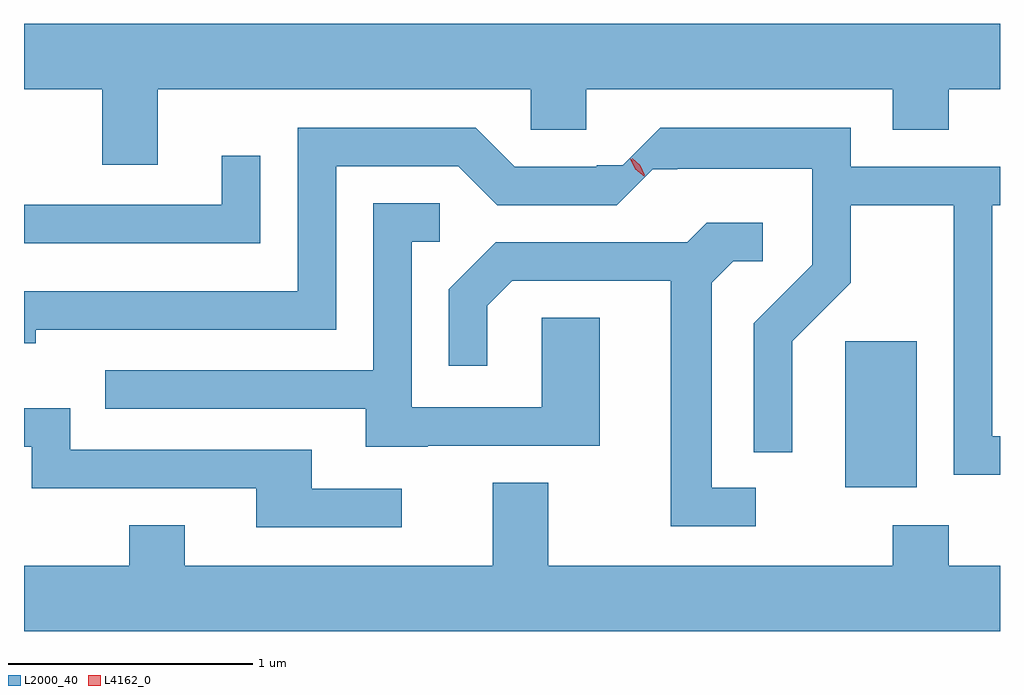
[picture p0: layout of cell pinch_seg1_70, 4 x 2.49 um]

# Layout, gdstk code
import gdstk
lib = gdstk.Library(unit=1e-6, precision=1e-09)
def R(c, l, rs):  # rectangles x0, y0, x1, y1
    for r in rs: c.add(gdstk.rectangle(r[:2], r[2:], *l))
def P(c, l, *ps):  # polygons
    for p in ps: c.add(gdstk.Polygon(p, *l))
L2000_40 = (2000, 40)
L4162_0 = (4162, 0)

pinch_seg1_70 = lib.new_cell('pinch_seg1_70')
R(pinch_seg1_70, L2000_40, [(225.256,900.166,225.549,900.764)])
P(pinch_seg1_70, L2000_40, [(222.439,901.796),(223.966,901.796),(223.966,901.631),(224.194,901.631),(224.194,901.796),(225.451,901.796),(225.451,901.631),(225.679,901.631),(225.679,901.796),(225.89,901.796),(225.89,902.064),(221.89,902.064),(221.89,901.796),(222.211,901.796),(222.211,901.486),(222.439,901.486)],
  [(225.89,900.374),(225.859,900.374),(225.859,901.321),(225.89,901.321),(225.89,901.479),(225.279,901.479),(225.279,901.639),(224.497,901.639),(224.343,901.485),(224.238,901.485),(224.238,901.479),(223.902,901.479),(223.742,901.639),(223.011,901.639),(223.011,900.969),(221.89,900.969),(221.89,900.756),(221.939,900.756),(221.939,900.811),(223.169,900.811),(223.169,901.481),(223.669,901.481),(223.829,901.321),(224.32,901.321),(224.466,901.468),(224.568,901.468),(224.568,901.471),(225.121,901.471),(225.121,901.077),(224.881,900.837),(224.881,900.308),(225.039,900.308),(225.039,900.764),(225.279,901.004),(225.279,901.321),(225.701,901.321),(225.701,900.216),(225.89,900.216)],
  [(222.859,901.523),(222.701,901.523),(222.701,901.324),(221.89,901.324),(221.89,901.166),(222.859,901.166)],
  [(223.545,900.336),(224.249,900.336),(224.249,900.859),(224.011,900.859),(224.011,900.494),(223.479,900.494),(223.479,901.171),(223.593,901.171),(223.593,901.329),(223.321,901.329),(223.321,900.644),(222.223,900.644),(222.223,900.486),(223.291,900.486),(223.291,900.331),(223.545,900.331)],
  [(224.888,900.164),(224.709,900.164),(224.709,901.004),(224.797,901.091),(224.918,901.091),(224.918,901.249),(224.689,901.249),(224.609,901.169),(223.824,901.169),(223.631,900.977),(223.631,900.663),(223.789,900.663),(223.789,900.909),(223.892,901.011),(224.541,901.011),(224.541,900.006),(224.888,900.006)],
  [(223.438,900.159),(223.069,900.159),(223.069,900.319),(222.079,900.319),(222.079,900.489),(221.89,900.489),(221.89,900.331),(221.921,900.331),(221.921,900.161),(222.841,900.161),(222.841,900.001),(223.438,900.001)],
  [(225.89,899.844),(225.679,899.844),(225.679,900.009),(225.451,900.009),(225.451,899.844),(224.039,899.844),(224.039,900.184),(223.811,900.184),(223.811,899.844),(222.549,899.844),(222.549,900.009),(222.321,900.009),(222.321,899.844),(221.89,899.844),(221.89,899.576),(225.89,899.576)])
P(pinch_seg1_70, L4162_0, [(224.434,901.437),(224.396,901.469),(224.373,901.513),(224.373,901.514),(224.373,901.514),(224.412,901.482),(224.435,901.438),(224.435,901.437)],
  [(224.434,901.444),(224.4,901.473),(224.382,901.513),(224.382,901.514),(224.382,901.514),(224.416,901.485),(224.434,901.445),(224.434,901.444)])

lib.write_gds('pinch_seg1_70.gds')
